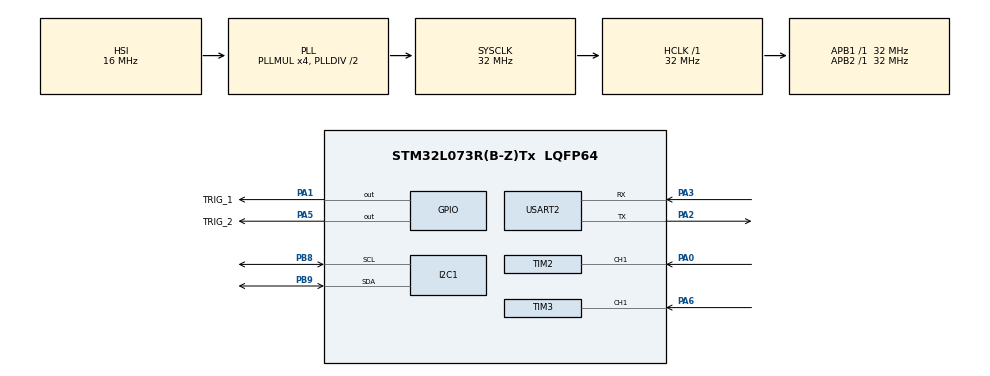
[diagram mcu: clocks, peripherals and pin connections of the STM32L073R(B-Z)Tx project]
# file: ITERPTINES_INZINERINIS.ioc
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I2C1.Timing=0x00B07CB4
Mcu.Family=STM32L0
Mcu.Name=STM32L073R(B-Z)Tx
Mcu.Package=LQFP64
NVIC.TIM2_IRQn=true\:0\:0\:false\:false\:true\:true\:true\:true
NVIC.TIM3_IRQn=true\:0\:0\:false\:false\:true\:true\:true\:true
NVIC.TIM6_DAC_IRQn=true\:0\:0\:false\:false\:true\:true\:true\:true
PA0.Signal=S_TIM2_CH1
PA1.GPIO_Label=TRIG_1
PA1.Signal=GPIO_Output
PA13.Mode=Serial_Wire
PA13.Signal=SYS_SWDIO
PA14.Mode=Serial_Wire
PA14.Signal=SYS_SWCLK
PA2.Mode=Asynchronous
PA2.Signal=USART2_TX
PA3.Mode=Asynchronous
PA3.Signal=USART2_RX
PA5.GPIO_Label=TRIG_2
PA5.Signal=GPIO_Output
PA6.Signal=S_TIM3_CH1
PB8.GPIO_Pu=GPIO_PULLUP
PB8.Mode=I2C
PB8.Signal=I2C1_SCL
PB9.GPIO_Pu=GPIO_PULLUP
PB9.Mode=I2C
PB9.Signal=I2C1_SDA
ProjectManager.HeapSize=0x200
ProjectManager.StackSize=0x400
ProjectManager.TargetToolchain=MDK-ARM V5.32
RCC.AHBFreq_Value=32000000
RCC.APB1Freq_Value=32000000
RCC.APB1TimFreq_Value=32000000
RCC.APB2Freq_Value=32000000
RCC.APB2TimFreq_Value=32000000
RCC.HCLKFreq_Value=32000000
RCC.HSE_VALUE=8000000
RCC.HSI16_VALUE=16000000
RCC.HSI48_VALUE=48000000
RCC.HSI_VALUE=16000000
RCC.LSE_VALUE=32768
RCC.MSIClockRange=RCC_MSIRANGE_1
RCC.MSI_VALUE=131072
RCC.PLLMUL=RCC_PLLMUL_4
RCC.SYSCLKFreq_VALUE=32000000
RCC.SYSCLKSource=RCC_SYSCLKSOURCE_PLLCLK
RCC.VCOOutputFreq_Value=64000000
SH.S_TIM2_CH1.0=TIM2_CH1,Input_Capture1_from_TI1
SH.S_TIM3_CH1.0=TIM3_CH1,Input_Capture1_from_TI1
TIM2.Channel-Input_Capture1_from_TI1=TIM_CHANNEL_1
TIM2.Period=65535-1
TIM2.Prescaler=31
TIM3.Channel-Input_Capture1_from_TI1=TIM_CHANNEL_1
TIM3.Period=65535-1
TIM3.Prescaler=31
TIM6.Period=99
TIM6.Prescaler=31999
TIM7.Prescaler=32-1
USART2.VirtualMode-Asynchronous=VM_ASYNC
VP_TIM6_VS_ClockSourceINT.Mode=Enable_Timer
VP_TIM7_VS_ClockSourceINT.Mode=Enable_Timer
board=custom

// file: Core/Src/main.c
/* USER CODE BEGIN Header */
/**
  ******************************************************************************
  * @file           : main.c
  * @brief          : Main program body
  ******************************************************************************
  * @attention
  *
  * Copyright (c) 2025 STMicroelectronics.
  * All rights reserved.
  *
  * This software is licensed under terms that can be found in the LICENSE file
  * in the root directory of this software component.
  * If no LICENSE file comes with this software, it is provided AS-IS.
  *
  ******************************************************************************
  */
/* USER CODE END Header */
#include "main.h"

/* USER CODE BEGIN Includes */
#include "ssd1306.h"
#include "ssd1306_fonts.h"
#include <stdio.h>  // del sprintf
#include <string.h>  // del strlen()

/* USER CODE END Includes */

I2C_HandleTypeDef hi2c1;

TIM_HandleTypeDef htim2;
TIM_HandleTypeDef htim3;
TIM_HandleTypeDef htim6;
TIM_HandleTypeDef htim7;

UART_HandleTypeDef huart2;

void SystemClock_Config(void);
static void MX_GPIO_Init(void);
static void MX_TIM2_Init(void);
static void MX_TIM3_Init(void);
static void MX_I2C1_Init(void);
static void MX_TIM6_Init(void);
static void MX_TIM7_Init(void);
static void MX_USART2_UART_Init(void);

/* USER CODE BEGIN 0 */

volatile uint32_t IC_Val1 = 0, IC_Val1_2 = 0;
volatile uint32_t IC_Val2 = 0, IC_Val2_2 = 0;
volatile uint32_t Difference = 0, Difference_2 = 0;
volatile uint16_t Is_First_Captured = 0, Is_First_Captured_2 = 0;  // Skirti suzinoti ar frontas nuskaitytas
volatile uint16_t Distance  = 0, Distance_2  = 0;
int16_t skirtumas_pc=0 ;

#define MAX_DISTANCE_CM 30 //Maksimalus atstumas
#define SENSOR_BUFFER_SIZE 7 //Buferio dydis
uint16_t sensor1_buffer[SENSOR_BUFFER_SIZE];
uint16_t sensor2_buffer[SENSOR_BUFFER_SIZE];
uint8_t buffer_index = 0;

// UART valdymui
//volatile uint8_t uart_ready = 1;  // 1 = laisvas, 0 = užimtas
//#define UART_MSG_LEN 32  // Maksimalus žinutes ilgis

void delay(uint16_t time){
	__HAL_TIM_SET_COUNTER(&htim2,0);
	while(__HAL_TIM_GET_COUNTER (&htim2)<time);
}//Laikmatis 10us pertraukimas (BLOKUOJANTIS)

void HAL_TIM_IC_CaptureCallback(TIM_HandleTypeDef *htim)
{
    if (htim->Instance == TIM2 && htim->Channel == HAL_TIM_ACTIVE_CHANNEL_1) {
        // Pirmas jutiklis

        if (Is_First_Captured==0) {
            IC_Val1 = HAL_TIM_ReadCapturedValue(htim, TIM_CHANNEL_1);//Gaunama laiko verte
            Is_First_Captured = 1;
            __HAL_TIM_SET_CAPTUREPOLARITY(htim, TIM_CHANNEL_1, TIM_INPUTCHANNELPOLARITY_FALLING);//Galinio fronto nuskaitymui
        }
        else {
            IC_Val2 = HAL_TIM_ReadCapturedValue(htim, TIM_CHANNEL_1);//Gaunama laiko verte
            __HAL_TIM_SET_COUNTER(htim, 0);//Is naujo nustatomas laikmatis

            if (IC_Val2 > IC_Val1)
                Difference = IC_Val2 - IC_Val1;
            else
                Difference = (0xffff - IC_Val1) + IC_Val2;

            Distance = Difference * 0.034 / 2;
            Is_First_Captured = 0;
            __HAL_TIM_SET_CAPTUREPOLARITY(htim, TIM_CHANNEL_1, TIM_INPUTCHANNELPOLARITY_RISING);//Priekinio fronto nuskaitymui
            __HAL_TIM_DISABLE_IT(htim, TIM_IT_CC1);//Isjungiamas timeris
        }
    }
    else if (htim->Instance == TIM3 && htim->Channel == HAL_TIM_ACTIVE_CHANNEL_1) {
        // Antras jutiklis

        if (Is_First_Captured_2==0) {
            IC_Val1_2 = HAL_TIM_ReadCapturedValue(htim, TIM_CHANNEL_1);//Gaunama laiko verte
            Is_First_Captured_2 = 1;
            __HAL_TIM_SET_CAPTUREPOLARITY(htim, TIM_CHANNEL_1, TIM_INPUTCHANNELPOLARITY_FALLING);//Galinio fronto nuskaitymui
        }
        else {
            IC_Val2_2 = HAL_TIM_ReadCapturedValue(htim, TIM_CHANNEL_1);//Gaunama laiko verte
            __HAL_TIM_SET_COUNTER(htim, 0);//Is naujo nustatomas laikmatis

            if (IC_Val2_2 > IC_Val1_2)
                Difference_2 = IC_Val2_2 - IC_Val1_2;
            else
                Difference_2 = (0xffff - IC_Val1_2) + IC_Val2_2;

            Distance_2 = Difference_2 * 0.034 / 2;
            Is_First_Captured_2 = 0;
            __HAL_TIM_SET_CAPTUREPOLARITY(htim, TIM_CHANNEL_1, TIM_INPUTCHANNELPOLARITY_RISING);//Priekinio fronto nuskaitymui
            __HAL_TIM_DISABLE_IT(htim, TIM_IT_CC1);//Isjungiamas timeris
        }
    }
}

void TriggerSensor1(void) {
    // TRIG1 - PA1
    HAL_GPIO_WritePin(GPIOA, TRIG_1_Pin, GPIO_PIN_SET);
    delay(10); // 10 µs
    HAL_GPIO_WritePin(GPIOA, TRIG_1_Pin, GPIO_PIN_RESET);

    __HAL_TIM_ENABLE_IT(&htim2, TIM_IT_CC1); // ECHO1 – TIM2 CH1
}

void TriggerSensor2(void) {
    // TRIG2 - PA5
    HAL_GPIO_WritePin(GPIOA, TRIG_2_Pin, GPIO_PIN_SET);
    delay(10); // 10 µs
    HAL_GPIO_WritePin(GPIOA, TRIG_2_Pin, GPIO_PIN_RESET);

    __HAL_TIM_ENABLE_IT(&htim3, TIM_IT_CC1); // ECHO2 – TIM3 CH1
}

//void HAL_UART_TxCpltCallback(UART_HandleTypeDef *huart) {
//    if (huart->Instance == USART2) {
//        uart_ready = 1;  // UART vel laisvas
//    }
//}

//void Send_UART_NonBlocking(uint16_t Distance, uint16_t Distance_2, int16_t skirtumas_pc) {
//    if (uart_ready) {
//        char msg[UART_MSG_LEN];
//        int len = snprintf(msg, sizeof(msg), "D1=%u D2=%u D=%d\r\n", Distance, Distance_2, skirtumas_pc);
//
//        uart_ready = 0;  // UART užimtas
//        HAL_UART_Transmit_IT(&huart2, (uint8_t*)msg, len);
//    }
//    // Jei UART užimtas, praleidžiame ši siuntima
//}

void HAL_TIM_PeriodElapsedCallback(TIM_HandleTypeDef *htim) {
    if (htim->Instance == TIM6) {
        static uint8_t cycle_counter = 0;  // Skaiciuoja 100ms intervalus

        cycle_counter++;

        // Duomenu parodymo i ekrana ciklo vertes atnaujinimas kas 2s (20 x 100ms)
        if (cycle_counter >= 20) {
            cycle_counter = 0;
        }

        // Jutikliu trigerinimas
        switch(cycle_counter % 2) {
            case 0:  // Lygus ciklai (0, 2, 4...)
                TriggerSensor1();  // Pirmas jutiklis
                break;

            case 1:  // Nelygus ciklai (1, 3, 5...)
                TriggerSensor2();  // Antras jutiklis
                break;
        }

        // Sudedam i buferi kas 200ms (kas 2 ciklus)
        if ((cycle_counter % 2) == 1) {  // 100ms, 300ms, 500ms...
            if (buffer_index < SENSOR_BUFFER_SIZE) {
                if (Distance <= MAX_DISTANCE_CM && Distance_2 <= MAX_DISTANCE_CM) {
                    sensor1_buffer[buffer_index] = Distance;
                    sensor2_buffer[buffer_index] = Distance_2;
										skirtumas_pc=Distance-Distance_2;
                    buffer_index++;
										//Send_UART_NonBlocking(Distance, Distance_2, skirtumas_pc);
										// Siunciame duomenis i kompiuteri kas 200ms
										char debug_msg[30];
										int len = sprintf(debug_msg, "S1=%3u | S2=%3u | Skrt=%2d\r\n",
                              Distance, Distance_2, skirtumas_pc);
										HAL_UART_Transmit(&huart2, (uint8_t*)debug_msg, len, 1);

                }
            }

        }

        // Duomenu rodymas kas 2s (20 TIM6 ciklu)
        if (cycle_counter == 0) {
            // Skaiciavimai ir OLED atnaujinimas
            uint32_t sum1 = 0, sum2 = 0;
            uint8_t valid_samples = 0; //Ar vertes geros <30 cm

            for (int i = 0; i < SENSOR_BUFFER_SIZE; i++) {
                if (sensor1_buffer[i] <= MAX_DISTANCE_CM && sensor2_buffer[i] <= MAX_DISTANCE_CM) {
                    sum1 += sensor1_buffer[i];
                    sum2 += sensor2_buffer[i];
                    valid_samples++;
                }// Tikrinamos abieju buferiu vertes. Ar nera blogos >30. Jei geros susumuojamos, del vidurkio skaiciavimo
            }

            if (valid_samples > 0) {
							// Duomenu parodymas OLED ekrane
                uint16_t avg1 = sum1 / valid_samples;
                uint16_t avg2 = sum2 / valid_samples;
                int16_t diff = avg1 - avg2;

                char buf1[20], buf2[20], buf3[20];
                sprintf(buf1, "S1: %d cm", avg1);
                sprintf(buf2, "S2: %d cm", avg2);
                sprintf(buf3, "Skirtumas: %d cm", diff);

                ssd1306_Fill(Black);
                ssd1306_SetCursor(0, 0);
                ssd1306_WriteString(buf1, Font_6x8, White);
                ssd1306_SetCursor(0, 12);
                ssd1306_WriteString(buf2, Font_6x8, White);
                ssd1306_SetCursor(0, 24);
                ssd1306_WriteString(buf3, Font_6x8, White);
                ssd1306_UpdateScreen();
            }

            buffer_index = 0;  // Istrinti buferiu duomenis po parodymo
        }
    }
}

void OLED_Init(){
	ssd1306_Init();
	ssd1306_Fill(Black);
  ssd1306_UpdateScreen();

};
/* USER CODE END 0 */

int main(void)
{

  /* MCU Configuration--------------------------------------------------------*/

  /* Reset of all peripherals, Initializes the Flash interface and the Systick. */
  HAL_Init();

  /* Configure the system clock */
  SystemClock_Config();

  /* Initialize all configured peripherals */
  MX_GPIO_Init();
  MX_TIM2_Init();
  MX_TIM3_Init();
  MX_I2C1_Init();
  MX_TIM6_Init();
  MX_TIM7_Init();
  MX_USART2_UART_Init();

  /* USER CODE BEGIN 2 */
	OLED_Init();
	HAL_TIM_IC_Start_IT(&htim2, TIM_CHANNEL_1);
	HAL_TIM_IC_Start_IT(&htim3, TIM_CHANNEL_1);
	//HAL_UART_Init(&huart2);
	//HAL_NVIC_EnableIRQ(USART2_IRQn);
	HAL_TIM_Base_Start_IT(&htim6);

//	ssd1306_SetCursor(0, 0); // Nustatome kursoriu i pirma eilute, pirma stulpeli
//  ssd1306_WriteString("Hello, World!", Font_7x10, White);
//  ssd1306_UpdateScreen(); // Atnaujiname ekrana
  /* USER CODE END 2 */

  /* Infinite loop */
  while (1)
  {

  }
}

void SystemClock_Config(void)
{
  RCC_OscInitTypeDef RCC_OscInitStruct = {0};
  RCC_ClkInitTypeDef RCC_ClkInitStruct = {0};
  RCC_PeriphCLKInitTypeDef PeriphClkInit = {0};

  /** Configure the main internal regulator output voltage
  */
  __HAL_PWR_VOLTAGESCALING_CONFIG(PWR_REGULATOR_VOLTAGE_SCALE1);

  /** Initializes the RCC Oscillators according to the specified parameters
  * in the RCC_OscInitTypeDef structure.
  */
  RCC_OscInitStruct.OscillatorType = RCC_OSCILLATORTYPE_HSI;
  RCC_OscInitStruct.HSIState = RCC_HSI_ON;
  RCC_OscInitStruct.HSICalibrationValue = RCC_HSICALIBRATION_DEFAULT;
  RCC_OscInitStruct.PLL.PLLState = RCC_PLL_ON;
  RCC_OscInitStruct.PLL.PLLSource = RCC_PLLSOURCE_HSI;
  RCC_OscInitStruct.PLL.PLLMUL = RCC_PLLMUL_4;
  RCC_OscInitStruct.PLL.PLLDIV = RCC_PLLDIV_2;
  if (HAL_RCC_OscConfig(&RCC_OscInitStruct) != HAL_OK)
  {
    Error_Handler();
  }

  /** Initializes the CPU, AHB and APB buses clocks
  */
  RCC_ClkInitStruct.ClockType = RCC_CLOCKTYPE_HCLK|RCC_CLOCKTYPE_SYSCLK
                              |RCC_CLOCKTYPE_PCLK1|RCC_CLOCKTYPE_PCLK2;
  RCC_ClkInitStruct.SYSCLKSource = RCC_SYSCLKSOURCE_PLLCLK;
  RCC_ClkInitStruct.AHBCLKDivider = RCC_SYSCLK_DIV1;
  RCC_ClkInitStruct.APB1CLKDivider = RCC_HCLK_DIV1;
  RCC_ClkInitStruct.APB2CLKDivider = RCC_HCLK_DIV1;

  if (HAL_RCC_ClockConfig(&RCC_ClkInitStruct, FLASH_LATENCY_1) != HAL_OK)
  {
    Error_Handler();
  }
  PeriphClkInit.PeriphClockSelection = RCC_PERIPHCLK_USART2|RCC_PERIPHCLK_I2C1;
  PeriphClkInit.Usart2ClockSelection = RCC_USART2CLKSOURCE_PCLK1;
  PeriphClkInit.I2c1ClockSelection = RCC_I2C1CLKSOURCE_PCLK1;
  if (HAL_RCCEx_PeriphCLKConfig(&PeriphClkInit) != HAL_OK)
  {
    Error_Handler();
  }
}

static void MX_I2C1_Init(void)
{

  hi2c1.Instance = I2C1;
  hi2c1.Init.Timing = 0x00B07CB4;
  hi2c1.Init.OwnAddress1 = 0;
  hi2c1.Init.AddressingMode = I2C_ADDRESSINGMODE_7BIT;
  hi2c1.Init.DualAddressMode = I2C_DUALADDRESS_DISABLE;
  hi2c1.Init.OwnAddress2 = 0;
  hi2c1.Init.OwnAddress2Masks = I2C_OA2_NOMASK;
  hi2c1.Init.GeneralCallMode = I2C_GENERALCALL_DISABLE;
  hi2c1.Init.NoStretchMode = I2C_NOSTRETCH_DISABLE;
  if (HAL_I2C_Init(&hi2c1) != HAL_OK)
  {
    Error_Handler();
  }

  /** Configure Analogue filter
  */
  if (HAL_I2CEx_ConfigAnalogFilter(&hi2c1, I2C_ANALOGFILTER_ENABLE) != HAL_OK)
  {
    Error_Handler();
  }

  /** Configure Digital filter
  */
  if (HAL_I2CEx_ConfigDigitalFilter(&hi2c1, 0) != HAL_OK)
  {
    Error_Handler();
  }

}

static void MX_TIM2_Init(void)
{

  TIM_MasterConfigTypeDef sMasterConfig = {0};
  TIM_IC_InitTypeDef sConfigIC = {0};

  htim2.Instance = TIM2;
  htim2.Init.Prescaler = 31;
  htim2.Init.CounterMode = TIM_COUNTERMODE_UP;
  htim2.Init.Period = 65535-1;
  htim2.Init.ClockDivision = TIM_CLOCKDIVISION_DIV1;
  htim2.Init.AutoReloadPreload = TIM_AUTORELOAD_PRELOAD_DISABLE;
  if (HAL_TIM_IC_Init(&htim2) != HAL_OK)
  {
    Error_Handler();
  }
  sMasterConfig.MasterOutputTrigger = TIM_TRGO_RESET;
  sMasterConfig.MasterSlaveMode = TIM_MASTERSLAVEMODE_DISABLE;
  if (HAL_TIMEx_MasterConfigSynchronization(&htim2, &sMasterConfig) != HAL_OK)
  {
    Error_Handler();
  }
  sConfigIC.ICPolarity = TIM_INPUTCHANNELPOLARITY_RISING;
  sConfigIC.ICSelection = TIM_ICSELECTION_DIRECTTI;
  sConfigIC.ICPrescaler = TIM_ICPSC_DIV1;
  sConfigIC.ICFilter = 0;
  if (HAL_TIM_IC_ConfigChannel(&htim2, &sConfigIC, TIM_CHANNEL_1) != HAL_OK)
  {
    Error_Handler();
  }

}

static void MX_TIM3_Init(void)
{

  TIM_MasterConfigTypeDef sMasterConfig = {0};
  TIM_IC_InitTypeDef sConfigIC = {0};

  htim3.Instance = TIM3;
  htim3.Init.Prescaler = 31;
  htim3.Init.CounterMode = TIM_COUNTERMODE_UP;
  htim3.Init.Period = 65535-1;
  htim3.Init.ClockDivision = TIM_CLOCKDIVISION_DIV1;
  htim3.Init.AutoReloadPreload = TIM_AUTORELOAD_PRELOAD_DISABLE;
  if (HAL_TIM_IC_Init(&htim3) != HAL_OK)
  {
    Error_Handler();
  }
  sMasterConfig.MasterOutputTrigger = TIM_TRGO_RESET;
  sMasterConfig.MasterSlaveMode = TIM_MASTERSLAVEMODE_DISABLE;
  if (HAL_TIMEx_MasterConfigSynchronization(&htim3, &sMasterConfig) != HAL_OK)
  {
    Error_Handler();
  }
  sConfigIC.ICPolarity = TIM_INPUTCHANNELPOLARITY_RISING;
  sConfigIC.ICSelection = TIM_ICSELECTION_DIRECTTI;
  sConfigIC.ICPrescaler = TIM_ICPSC_DIV1;
  sConfigIC.ICFilter = 0;
  if (HAL_TIM_IC_ConfigChannel(&htim3, &sConfigIC, TIM_CHANNEL_1) != HAL_OK)
  {
    Error_Handler();
  }
  if (HAL_TIMEx_RemapConfig(&htim3, TIM3_TI1_GPIO) != HAL_OK)
  {
    Error_Handler();
  }

}

static void MX_TIM6_Init(void)
{

  TIM_MasterConfigTypeDef sMasterConfig = {0};

  htim6.Instance = TIM6;
  htim6.Init.Prescaler = 31999;
  htim6.Init.CounterMode = TIM_COUNTERMODE_UP;
  htim6.Init.Period = 99;
  htim6.Init.AutoReloadPreload = TIM_AUTORELOAD_PRELOAD_DISABLE;
  if (HAL_TIM_Base_Init(&htim6) != HAL_OK)
  {
    Error_Handler();
  }
  sMasterConfig.MasterOutputTrigger = TIM_TRGO_RESET;
  sMasterConfig.MasterSlaveMode = TIM_MASTERSLAVEMODE_DISABLE;
  if (HAL_TIMEx_MasterConfigSynchronization(&htim6, &sMasterConfig) != HAL_OK)
  {
    Error_Handler();
  }

}

static void MX_TIM7_Init(void)
{

  TIM_MasterConfigTypeDef sMasterConfig = {0};

  htim7.Instance = TIM7;
  htim7.Init.Prescaler = 32-1;
  htim7.Init.CounterMode = TIM_COUNTERMODE_UP;
  htim7.Init.Period = 65535;
  htim7.Init.AutoReloadPreload = TIM_AUTORELOAD_PRELOAD_DISABLE;
  if (HAL_TIM_Base_Init(&htim7) != HAL_OK)
  {
    Error_Handler();
  }
  sMasterConfig.MasterOutputTrigger = TIM_TRGO_RESET;
  sMasterConfig.MasterSlaveMode = TIM_MASTERSLAVEMODE_DISABLE;
  if (HAL_TIMEx_MasterConfigSynchronization(&htim7, &sMasterConfig) != HAL_OK)
  {
    Error_Handler();
  }

}

static void MX_USART2_UART_Init(void)
{

  huart2.Instance = USART2;
  huart2.Init.BaudRate = 115200;
  huart2.Init.WordLength = UART_WORDLENGTH_8B;
  huart2.Init.StopBits = UART_STOPBITS_1;
  huart2.Init.Parity = UART_PARITY_NONE;
  huart2.Init.Mode = UART_MODE_TX_RX;
  huart2.Init.HwFlowCtl = UART_HWCONTROL_NONE;
  huart2.Init.OverSampling = UART_OVERSAMPLING_16;
  huart2.Init.OneBitSampling = UART_ONE_BIT_SAMPLE_DISABLE;
  huart2.AdvancedInit.AdvFeatureInit = UART_ADVFEATURE_NO_INIT;
  if (HAL_UART_Init(&huart2) != HAL_OK)
  {
    Error_Handler();
  }

}

static void MX_GPIO_Init(void)
{
  GPIO_InitTypeDef GPIO_InitStruct = {0};

  /* GPIO Ports Clock Enable */
  __HAL_RCC_GPIOA_CLK_ENABLE();
  __HAL_RCC_GPIOB_CLK_ENABLE();

  /*Configure GPIO pin Output Level */
  HAL_GPIO_WritePin(GPIOA, TRIG_1_Pin|TRIG_2_Pin, GPIO_PIN_RESET);

  /*Configure GPIO pins : TRIG_1_Pin TRIG_2_Pin */
  GPIO_InitStruct.Pin = TRIG_1_Pin|TRIG_2_Pin;
  GPIO_InitStruct.Mode = GPIO_MODE_OUTPUT_PP;
  GPIO_InitStruct.Pull = GPIO_NOPULL;
  GPIO_InitStruct.Speed = GPIO_SPEED_FREQ_LOW;
  HAL_GPIO_Init(GPIOA, &GPIO_InitStruct);

}

void Error_Handler(void)
{
  __disable_irq();
  while (1)
  {
  }
}
